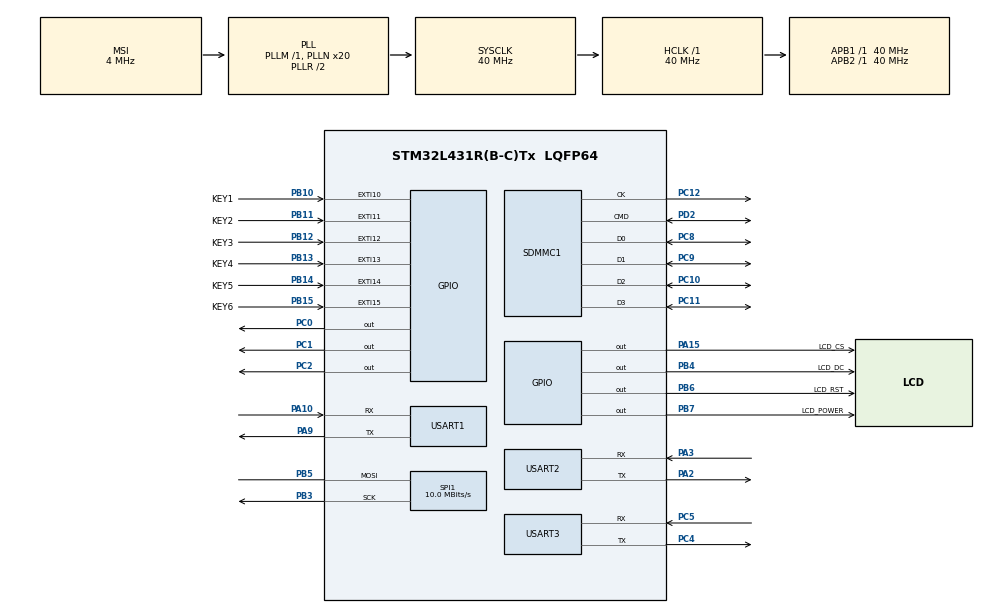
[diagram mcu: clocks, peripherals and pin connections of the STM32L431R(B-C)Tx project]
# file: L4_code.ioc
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Dma.Request0=USART2_RX
Dma.Request1=USART3_RX
Dma.Request2=USART1_RX
Dma.USART1_RX.2.Direction=DMA_PERIPH_TO_MEMORY
Dma.USART1_RX.2.Instance=DMA1_Channel5
Dma.USART1_RX.2.MemDataAlignment=DMA_MDATAALIGN_BYTE
Dma.USART1_RX.2.MemInc=DMA_MINC_ENABLE
Dma.USART1_RX.2.Mode=DMA_CIRCULAR
Dma.USART1_RX.2.PeriphDataAlignment=DMA_PDATAALIGN_BYTE
Dma.USART1_RX.2.PeriphInc=DMA_PINC_DISABLE
Dma.USART1_RX.2.Priority=DMA_PRIORITY_LOW
Dma.USART2_RX.0.Direction=DMA_PERIPH_TO_MEMORY
Dma.USART2_RX.0.Instance=DMA1_Channel6
Dma.USART2_RX.0.MemDataAlignment=DMA_MDATAALIGN_BYTE
Dma.USART2_RX.0.MemInc=DMA_MINC_ENABLE
Dma.USART2_RX.0.Mode=DMA_CIRCULAR
Dma.USART2_RX.0.PeriphDataAlignment=DMA_PDATAALIGN_BYTE
Dma.USART2_RX.0.PeriphInc=DMA_PINC_DISABLE
Dma.USART2_RX.0.Priority=DMA_PRIORITY_LOW
Dma.USART3_RX.1.Direction=DMA_PERIPH_TO_MEMORY
Dma.USART3_RX.1.Instance=DMA1_Channel3
Dma.USART3_RX.1.MemDataAlignment=DMA_MDATAALIGN_BYTE
Dma.USART3_RX.1.MemInc=DMA_MINC_ENABLE
Dma.USART3_RX.1.Mode=DMA_CIRCULAR
Dma.USART3_RX.1.PeriphDataAlignment=DMA_PDATAALIGN_BYTE
Dma.USART3_RX.1.PeriphInc=DMA_PINC_DISABLE
Dma.USART3_RX.1.Priority=DMA_PRIORITY_LOW
Mcu.Family=STM32L4
Mcu.Name=STM32L431R(B-C)Tx
Mcu.Package=LQFP64
NVIC.DMA1_Channel3_IRQn=true\:0\:0\:false\:false\:true\:false\:true\:true
NVIC.DMA1_Channel5_IRQn=true\:0\:0\:false\:false\:true\:false\:true\:true
NVIC.DMA1_Channel6_IRQn=true\:0\:0\:false\:false\:true\:false\:true\:true
NVIC.EXTI15_10_IRQn=true\:0\:0\:false\:false\:true\:true\:true\:true
NVIC.PriorityGroup=NVIC_PRIORITYGROUP_4
NVIC.TIM1_UP_TIM16_IRQn=true\:0\:0\:false\:false\:true\:true\:true\:true
NVIC.USART1_IRQn=true\:0\:0\:false\:true\:true\:3\:true\:true\:true
NVIC.USART2_IRQn=true\:0\:0\:false\:true\:true\:1\:true\:true\:true
NVIC.USART3_IRQn=true\:0\:0\:false\:true\:true\:2\:true\:true\:true
PA10.Mode=Asynchronous
PA10.Signal=USART1_RX
PA13\ (JTMS-SWDIO).Mode=Serial_Wire
PA13\ (JTMS-SWDIO).Signal=SYS_JTMS-SWDIO
PA14\ (JTCK-SWCLK).Mode=Serial_Wire
PA14\ (JTCK-SWCLK).Signal=SYS_JTCK-SWCLK
PA15\ (JTDI).GPIO_Label=LCD_CS
PA15\ (JTDI).GPIO_PuPd=GPIO_PULLDOWN
PA15\ (JTDI).GPIO_Speed=GPIO_SPEED_FREQ_VERY_HIGH
PA15\ (JTDI).Signal=GPIO_Output
PA2.Mode=Asynchronous
PA2.Signal=USART2_TX
PA3.Mode=Asynchronous
PA3.Signal=USART2_RX
PA9.Mode=Asynchronous
PA9.Signal=USART1_TX
PB10.GPIO_Label=KEY1
PB10.GPIO_ModeDefaultEXTI=GPIO_MODE_IT_RISING_FALLING
PB10.GPIO_PuPd=GPIO_PULLUP
PB10.Signal=GPXTI10
PB11.GPIO_Label=KEY2
PB11.GPIO_ModeDefaultEXTI=GPIO_MODE_IT_RISING_FALLING
PB11.GPIO_PuPd=GPIO_PULLUP
PB11.Signal=GPXTI11
PB12.GPIO_Label=KEY3
PB12.GPIO_ModeDefaultEXTI=GPIO_MODE_IT_RISING_FALLING
PB12.GPIO_PuPd=GPIO_PULLUP
PB12.Signal=GPXTI12
PB13.GPIO_Label=KEY4
PB13.GPIO_ModeDefaultEXTI=GPIO_MODE_IT_RISING_FALLING
PB13.GPIO_PuPd=GPIO_PULLUP
PB13.Signal=GPXTI13
PB14.GPIO_Label=KEY5
PB14.GPIO_ModeDefaultEXTI=GPIO_MODE_IT_RISING_FALLING
PB14.GPIO_PuPd=GPIO_PULLUP
PB14.Signal=GPXTI14
PB15.GPIO_Label=KEY6
PB15.GPIO_ModeDefaultEXTI=GPIO_MODE_IT_RISING_FALLING
PB15.GPIO_PuPd=GPIO_PULLUP
PB15.Signal=GPXTI15
PB3\ (JTDO-TRACESWO).GPIO_PuPd=GPIO_PULLUP
PB3\ (JTDO-TRACESWO).Mode=Simplex_Bidirectional_Master
PB3\ (JTDO-TRACESWO).Signal=SPI1_SCK
PB4\ (NJTRST).GPIO_Label=LCD_DC
PB4\ (NJTRST).GPIO_PuPd=GPIO_PULLUP
PB4\ (NJTRST).GPIO_Speed=GPIO_SPEED_FREQ_VERY_HIGH
PB4\ (NJTRST).Signal=GPIO_Output
PB5.GPIO_PuPd=GPIO_PULLUP
PB5.Mode=Simplex_Bidirectional_Master
PB5.Signal=SPI1_MOSI
PB6.GPIO_Label=LCD_RST
PB6.GPIO_PuPd=GPIO_PULLUP
PB6.GPIO_Speed=GPIO_SPEED_FREQ_VERY_HIGH
PB6.Signal=GPIO_Output
PB7.GPIO_Label=LCD_POWER
PB7.GPIO_Speed=GPIO_SPEED_FREQ_VERY_HIGH
PB7.Signal=GPIO_Output
PC0.Signal=GPIO_Output
PC1.Signal=GPIO_Output
PC10.Mode=SD_4_bits_Wide_bus
PC10.Signal=SDMMC1_D2
PC11.Mode=SD_4_bits_Wide_bus
PC11.Signal=SDMMC1_D3
PC12.Mode=SD_4_bits_Wide_bus
PC12.Signal=SDMMC1_CK
PC14-OSC32_IN\ (PC14).Mode=LSE-External-Oscillator
PC14-OSC32_IN\ (PC14).Signal=RCC_OSC32_IN
PC15-OSC32_OUT\ (PC15).Mode=LSE-External-Oscillator
PC15-OSC32_OUT\ (PC15).Signal=RCC_OSC32_OUT
PC2.Signal=GPIO_Output
PC4.Mode=Asynchronous
PC4.Signal=USART3_TX
PC5.Mode=Asynchronous
PC5.Signal=USART3_RX
PC8.Mode=SD_4_bits_Wide_bus
PC8.Signal=SDMMC1_D0
PC9.Mode=SD_4_bits_Wide_bus
PC9.Signal=SDMMC1_D1
PD2.Mode=SD_4_bits_Wide_bus
PD2.Signal=SDMMC1_CMD
PH0-OSC_IN\ (PH0).Mode=HSE-External-Oscillator
PH0-OSC_IN\ (PH0).Signal=RCC_OSC_IN
PH1-OSC_OUT\ (PH1).Mode=HSE-External-Oscillator
PH1-OSC_OUT\ (PH1).Signal=RCC_OSC_OUT
ProjectManager.HeapSize=0x200
ProjectManager.StackSize=0x400
ProjectManager.TargetToolchain=MDK-ARM V5.27
RCC.ADCFreq_Value=32000000
RCC.AHBFreq_Value=40000000
RCC.APB1Freq_Value=40000000
RCC.APB1TimFreq_Value=40000000
RCC.APB2Freq_Value=40000000
RCC.APB2TimFreq_Value=40000000
RCC.CortexFreq_Value=40000000
RCC.HCLKFreq_Value=40000000
RCC.HSE_VALUE=8000000
RCC.HSI48_VALUE=48000000
RCC.HSI_VALUE=16000000
RCC.MSI_VALUE=4000000
RCC.PLLN=20
RCC.PLLSAI1N=16
RCC.SYSCLKFreq_VALUE=40000000
RCC.SYSCLKSource=RCC_SYSCLKSOURCE_PLLCLK
RCC.VCOOutputFreq_Value=80000000
SDMMC1.ClockDiv=2
SPI1.BaudRatePrescaler=SPI_BAUDRATEPRESCALER_4
SPI1.CLKPhase=SPI_PHASE_2EDGE
SPI1.CLKPolarity=SPI_POLARITY_HIGH
SPI1.CalculateBaudRate=10.0 MBits/s
SPI1.DataSize=SPI_DATASIZE_8BIT
SPI1.Direction=SPI_DIRECTION_1LINE
SPI1.Mode=SPI_MODE_MASTER
SPI1.VirtualType=VM_MASTER
TIM1.AutoReloadPreload=TIM_AUTORELOAD_PRELOAD_DISABLE
TIM1.Period=10-1
TIM1.Prescaler=4000-1
USART1.VirtualMode-Asynchronous=VM_ASYNC
USART2.VirtualMode-Asynchronous=VM_ASYNC
USART3.VirtualMode-Asynchronous=VM_ASYNC
VP_FATFS_VS_SDIO.Mode=SDIO
VP_TIM1_VS_ClockSourceINT.Mode=Internal
board=custom

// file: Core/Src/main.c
/* USER CODE BEGIN Header */
/**
  ******************************************************************************
  * @file           : main.c
  * @brief          : Main program body
  ******************************************************************************
  * @attention
  *
  * Copyright (c) 2025 STMicroelectronics.
  * All rights reserved.
  *
  * This software is licensed under terms that can be found in the LICENSE file
  * in the root directory of this software component.
  * If no LICENSE file comes with this software, it is provided AS-IS.
  *
  ******************************************************************************
  */
/* USER CODE END Header */
#include "main.h"
#include "dma.h"
#include "fatfs.h"
#include "sdmmc.h"
#include "spi.h"
#include "tim.h"
#include "usart.h"
#include "gpio.h"

/* USER CODE BEGIN Includes */
#include "lcd.h"
#include "stdio.h"
#include "list.h"
#include "string.h"
/* USER CODE END Includes */

/* USER CODE BEGIN PV */
uint8_t LCD_Show_string_L_MIN[50];
uint8_t LCD_Show_string_L_MAX[50];
uint8_t LCD_Show_string_A_MIN[50];
uint8_t LCD_Show_string_A_MAX[50];
uint8_t LCD_Show_string_B_MIN[50];
uint8_t LCD_Show_string_B_MAX[50];

uint8_t choose_log[20];
uint8_t mode_str[10];

LAB_list *L_MIN,*L_MAX,*A_MIN,*A_MAX,*B_MIN,*B_MAX;

uint8_t key_state=0;

/* USER CODE END PV */

void SystemClock_Config(void);
static void MX_NVIC_Init(void);

/* USER CODE BEGIN 0 */
static uint16_t line_buffer[320];

lcd_io lcd_io_desc = {
    .spi = &hspi1,
    .rst = {LCD_RST_GPIO_Port, LCD_RST_Pin, 0},
    .bl  = {LCD_POWER_GPIO_Port, LCD_POWER_Pin, 0},
    .cs  = {LCD_CS_GPIO_Port, LCD_CS_Pin, 0},
    .dc  = {LCD_DC_GPIO_Port,  LCD_DC_Pin,  0},
    .te  = { /* TE */ }
};

lcd lcd_desc = {
    .io = &lcd_io_desc,
    .line_buffer = line_buffer,
};

HAL_SD_CardInfoTypeDef  SDCardInfo;

void printf_sdcard_info(void)
{
	uint64_t CardCap;      	//SD
	HAL_SD_CardCIDTypeDef SDCard_CID;

	HAL_SD_GetCardCID(&hsd1,&SDCard_CID);	//CID
	HAL_SD_GetCardInfo(&hsd1,&SDCardInfo);                    //???SD?????
	CardCap=(uint64_t)(SDCardInfo.LogBlockNbr)*(uint64_t)(SDCardInfo.LogBlockSize);	//????SD??????
	switch(SDCardInfo.CardType)
	{
		case CARD_SDSC:
		{
			if(SDCardInfo.CardVersion == CARD_V1_X)
				printf("Card Type:SDSC V1\r\n");
			else if(SDCardInfo.CardVersion == CARD_V2_X)
				printf("Card Type:SDSC V2\r\n");
		}
		break;
		case CARD_SDHC_SDXC:printf("Card Type:SDHC\r\n");break;
		default:break;
	}

  printf("Card ManufacturerID: %d \r\n",SDCard_CID.ManufacturerID);				//??????ID
 	printf("CardVersion:         %d \r\n",(uint32_t)(SDCardInfo.CardVersion));		//??????
	printf("Class:               %d \r\n",(uint32_t)(SDCardInfo.Class));		    //
 	printf("Card RCA(RelCardAdd):%d \r\n",SDCardInfo.RelCardAdd);					//???????
	printf("Card BlockNbr:       %d \r\n",SDCardInfo.BlockNbr);						//??????
 	printf("Card BlockSize:      %d \r\n",SDCardInfo.BlockSize);					//????
	printf("LogBlockNbr:         %d \r\n",(uint32_t)(SDCardInfo.LogBlockNbr));		//?????????
	printf("LogBlockSize:        %d \r\n",(uint32_t)(SDCardInfo.LogBlockSize));		//???????
	printf("Card Capacity:       %d MB\r\n",(uint32_t)(CardCap>>20));				//??????
}

char uart1_uart_receive_buff[255];
char uart3_uart_receive_buff[255];
uint8_t UART_Recv_IT[5];
char LAB_Transmit_Buff[255];
/* USER CODE END 0 */

int main(void)
{

  /* USER CODE BEGIN 1 */
	uint8_t sd_datus;
	uint8_t sd_buf;
	int count=0;
  /* USER CODE END 1 */

  /* MCU Configuration--------------------------------------------------------*/

  /* Reset of all peripherals, Initializes the Flash interface and the Systick. */
  HAL_Init();

  /* Configure the system clock */
  SystemClock_Config();

  /* Initialize all configured peripherals */
  MX_GPIO_Init();
  MX_DMA_Init();
  MX_SPI1_Init();
  MX_USART1_UART_Init();
  MX_SDMMC1_SD_Init();
  MX_FATFS_Init();
  MX_USART3_UART_Init();
  MX_USART2_UART_Init();
  MX_TIM1_Init();

  /* Initialize interrupts */
  MX_NVIC_Init();
  /* USER CODE BEGIN 2 */

	/*****************FATFS文件系统初始化配置****************************/
	SD_Driver.disk_initialize(0);
	printf_sdcard_info();
		sd_datus = SD_Driver.disk_write(0,"SD CARD TEST",20,2);

	printf("sd write result:%d\r\n",sd_datus);
	sd_datus = SD_Driver.disk_read(0,&sd_buf,20,2);
	printf("sd reak result:%d\r\n",sd_datus);
	printf("sd read content:\r\n%s\r\n",&sd_buf);
	/*****************************************************************/
	/****************LCD屏幕初始化配置*********************/
  lcd_init_dev(&lcd_desc, LCD_1_47_INCH, LCD_ROTATE_90);
	//lcd_fill(&lcd_desc,0,0,480,240,WHITE);
	/****************串口空闲中断+DMA初始化配置*********************/
	__HAL_UART_ENABLE_IT(&huart1, UART_IT_IDLE);
	HAL_UART_Receive_DMA(&huart1, (uint8_t*)uart1_uart_receive_buff, 255);
		__HAL_UART_ENABLE_IT(&huart3, UART_IT_IDLE);
	HAL_UART_Receive_DMA(&huart3, (uint8_t*)uart3_uart_receive_buff, 255);
	/*************LAB阈值调节参数设置*************/

	L_MIN=(LAB_list *)malloc(sizeof(LAB_list));
	L_MAX=(LAB_list *)malloc(sizeof(LAB_list));
	A_MIN=(LAB_list *)malloc(sizeof(LAB_list));
	A_MAX=(LAB_list *)malloc(sizeof(LAB_list));
	B_MIN=(LAB_list *)malloc(sizeof(LAB_list));
	B_MAX=(LAB_list *)malloc(sizeof(LAB_list));

	list_init(&(L_MIN->list));
	list_insert_after(&(L_MIN->list),&(L_MAX->list));
	list_insert_after(&(L_MAX->list),&(A_MIN->list));
	list_insert_after(&(A_MIN->list),&(A_MAX->list));
	list_insert_after(&(A_MAX->list),&(B_MIN->list));
	list_insert_after(&(B_MIN->list),&(B_MAX->list));

	L_MIN->count=45;
	L_MAX->count=65;
	A_MIN->count=-10;
	A_MAX->count=55;
	B_MIN->count=0;
	B_MAX->count=40;

	L_MIN->show_line=10;
	L_MAX->show_line=35;
	A_MIN->show_line=60;
	A_MAX->show_line=85;
	B_MIN->show_line=110;
	B_MAX->show_line=135;

	now_list=L_MIN;
	//lcd_draw_rectangle(&lcd_desc, 10, now_list->show_line-5, 120,now_list->show_line+20, RED);
	/*****************************************************************/
	int i=0;
	char str[20];
	HAL_GPIO_WritePin(GPIOC,GPIO_PIN_0|GPIO_PIN_1|GPIO_PIN_2,1);
	uint8_t road_str[20];
  /* USER CODE END 2 */

  /* Infinite loop */
  /* USER CODE BEGIN WHILE */
  while (1)
  {
		//HAL_StatusTypeDef HAL_UART_Receive(UART_HandleTypeDef *huart, uint8_t *pData, uint16_t Size, uint32_t Timeout)
		HAL_UART_Receive(&huart2,road_str,4,100);
		if(road_str[0]=='M')
			if(road_str[1]=='1')
				HAL_UART_Transmit(&huart3,(uint8_t*)'1',1,100);
			if(road_str[1]=='2')
				HAL_UART_Transmit(&huart3,(uint8_t*)'2',1,100);
			if(road_str[1]=='3')
				HAL_UART_Transmit(&huart3,(uint8_t*)'3',1,100);
			if(road_str[1]=='4')
				HAL_UART_Transmit(&huart3,(uint8_t*)'4',1,100);
		lcd_print(&lcd_desc,20,20,(char *)road_str);
//		i=HAL_GPIO_ReadPin(GPIOB,GPIO_PIN_13);
//		sprintf(str,"%d   ",i);
//		lcd_print(&lcd_desc,20,20,(char *)str);

//		/**************lcd交互设计***************/
//		sprintf((char *)L_MIN->lcd_show_string,"L_MIN:%d  ",L_MIN->count);
//		sprintf((char *)L_MAX->lcd_show_string,"L_MAX:%d  ",L_MAX->count);
//		sprintf((char *)A_MIN->lcd_show_string,"A_MIN:%d  ",A_MIN->count);
//		sprintf((char *)A_MAX->lcd_show	_string,"A_MAX:%d  ",A_MAX->count);
//		sprintf((char *)B_MIN->lcd_show_string,"B_MIN:%d  ",B_MIN->count);
//		sprintf((char *)B_MAX->lcd_show_string,"B_MAX:%d  ",B_MAX->count);
//
//		if(now_list->mode==1)
//		{
//			lcd_draw_line(&lcd_desc, 300, 25, 300, 45, YELLOW);
//			lcd_draw_line(&lcd_desc, 290, 35, 310, 35, YELLOW);
//		}
//		else
//		{
//			lcd_draw_line(&lcd_desc, 300, 25, 300, 45, BLACK);
//			lcd_draw_line(&lcd_desc, 290, 35, 310, 35, YELLOW);
//		}
//		lcd_print(&lcd_desc,20,L_MIN->show_line,(char *)L_MIN->lcd_show_string);
//		lcd_print(&lcd_desc,20,L_MAX->show_line,(char *)L_MAX->lcd_show_string);
//		lcd_print(&lcd_desc,20,A_MIN->show_line,(char *)A_MIN->lcd_show_string);
//		lcd_print(&lcd_desc,20,A_MAX->show_line,(char *)A_MAX->lcd_show_string);
//		lcd_print(&lcd_desc,20,B_MIN->show_line,(char *)B_MIN->lcd_show_string);
//		lcd_print(&lcd_desc,20,B_MAX->show_line,(char *)B_MAX->lcd_show_string);
//		if(last_list!=NULL)
//			lcd_draw_rectangle(&lcd_desc, 10, last_list->show_line-3,120,last_list->show_line+18, BLACK);
//		lcd_draw_rectangle(&lcd_desc, 10, now_list->show_line-3,120,now_list->show_line+18, RED);
		/********************************/

		/**************串口数据发送******************/
//		sprintf(LAB_Transmit_Buff,"LMIN%dLMAX%dAMIN%dAMAX%dBMIN%dBMAX%d",L_MIN->count,L_MAX->count,A_MIN->count,A_MAX->count,B_MIN->count,B_MAX->count);
//
//		HAL_UART_Transmit(&huart2,(uint8_t *)LAB_Transmit_Buff,strlen(LAB_Transmit_Buff),0x200);
    /* USER CODE END WHILE */

    /* USER CODE BEGIN 3 */
  }

	/********CRC校验验证*********/
	char rece_buff[20];
	while(0)
	{
		HAL_UART_Receive(&huart2,(uint8_t *)rece_buff,1,100);
		//HAL_UART_Transmit(&huart2,(uint8_t *)"00",7,0x200);
		lcd_print(&lcd_desc,20,10,(char *)rece_buff);
	}
  /* USER CODE END 3 */
}

void SystemClock_Config(void)
{
  RCC_OscInitTypeDef RCC_OscInitStruct = {0};
  RCC_ClkInitTypeDef RCC_ClkInitStruct = {0};

  /** Configure the main internal regulator output voltage
  */
  if (HAL_PWREx_ControlVoltageScaling(PWR_REGULATOR_VOLTAGE_SCALE1) != HAL_OK)
  {
    Error_Handler();
  }

  /** Configure LSE Drive Capability
  */
  HAL_PWR_EnableBkUpAccess();
  __HAL_RCC_LSEDRIVE_CONFIG(RCC_LSEDRIVE_LOW);

  /** Initializes the RCC Oscillators according to the specified parameters
  * in the RCC_OscInitTypeDef structure.
  */
  RCC_OscInitStruct.OscillatorType = RCC_OSCILLATORTYPE_LSE|RCC_OSCILLATORTYPE_MSI;
  RCC_OscInitStruct.LSEState = RCC_LSE_ON;
  RCC_OscInitStruct.MSIState = RCC_MSI_ON;
  RCC_OscInitStruct.MSICalibrationValue = 0;
  RCC_OscInitStruct.MSIClockRange = RCC_MSIRANGE_6;
  RCC_OscInitStruct.PLL.PLLState = RCC_PLL_ON;
  RCC_OscInitStruct.PLL.PLLSource = RCC_PLLSOURCE_MSI;
  RCC_OscInitStruct.PLL.PLLM = 1;
  RCC_OscInitStruct.PLL.PLLN = 20;
  RCC_OscInitStruct.PLL.PLLP = RCC_PLLP_DIV7;
  RCC_OscInitStruct.PLL.PLLQ = RCC_PLLQ_DIV2;
  RCC_OscInitStruct.PLL.PLLR = RCC_PLLR_DIV2;
  if (HAL_RCC_OscConfig(&RCC_OscInitStruct) != HAL_OK)
  {
    Error_Handler();
  }

  /** Initializes the CPU, AHB and APB buses clocks
  */
  RCC_ClkInitStruct.ClockType = RCC_CLOCKTYPE_HCLK|RCC_CLOCKTYPE_SYSCLK
                              |RCC_CLOCKTYPE_PCLK1|RCC_CLOCKTYPE_PCLK2;
  RCC_ClkInitStruct.SYSCLKSource = RCC_SYSCLKSOURCE_PLLCLK;
  RCC_ClkInitStruct.AHBCLKDivider = RCC_SYSCLK_DIV1;
  RCC_ClkInitStruct.APB1CLKDivider = RCC_HCLK_DIV1;
  RCC_ClkInitStruct.APB2CLKDivider = RCC_HCLK_DIV1;

  if (HAL_RCC_ClockConfig(&RCC_ClkInitStruct, FLASH_LATENCY_2) != HAL_OK)
  {
    Error_Handler();
  }

  /** Enable MSI Auto calibration
  */
  HAL_RCCEx_EnableMSIPLLMode();
}

/**
  * @brief NVIC Configuration.
  * @retval None
  */
static void MX_NVIC_Init(void)
{
  /* USART2_IRQn interrupt configuration */
  HAL_NVIC_SetPriority(USART2_IRQn, 0, 0);
  HAL_NVIC_EnableIRQ(USART2_IRQn);
  /* USART3_IRQn interrupt configuration */
  HAL_NVIC_SetPriority(USART3_IRQn, 0, 0);
  HAL_NVIC_EnableIRQ(USART3_IRQn);
  /* USART1_IRQn interrupt configuration */
  HAL_NVIC_SetPriority(USART1_IRQn, 0, 0);
  HAL_NVIC_EnableIRQ(USART1_IRQn);
}

/* USER CODE BEGIN 4 */
void HAL_UART_RxCpltCallback(UART_HandleTypeDef *huart)
{
	  if(huart ==&huart3)
	  {
		  	HAL_GPIO_TogglePin(GPIOC,GPIO_PIN_0);
		  HAL_UART_Receive_IT(&huart3, UART_Recv_IT, 4);
	  }
}

void HAL_GPIO_EXTI_Callback(uint16_t GPIO_Pin)
{
	 key_state=__builtin_ctz(GPIO_Pin);
		HAL_TIM_Base_Start_IT(&htim1);
}

void HAL_TIM_PeriodElapsedCallback(TIM_HandleTypeDef *htim)
{
	uint16_t pin_mask = (1U << key_state);
   if(htim==&htim1)
  {
				HAL_TIM_Base_Stop_IT(&htim1);
       if(HAL_GPIO_ReadPin(KEY1_GPIO_Port,pin_mask)==0)
			 {
				 HAL_GPIO_TogglePin(GPIOC,GPIO_PIN_0);

				 if(key_state-9==1)
				 {
					 last_list=now_list;
					 list_find_before(now_list);
				 }
				 else if(key_state-9==2)
				 {
					 last_list=now_list;
					 list_find_next(now_list);
				 }
				 else if(key_state-9==3)
				 {
					 if(now_list->mode==0)
						 now_list->mode=1;
					 else if(now_list->mode==1)
						 now_list->mode=0;
				 }
				 else if(key_state-9==4)
				 {
					if(now_list->mode==1)
						now_list->count++;
					else
						now_list->count--;
				 }
			}
		}
}
/* USER CODE END 4 */

void Error_Handler(void)
{
  __disable_irq();
  while (1)
  {
  }
}
